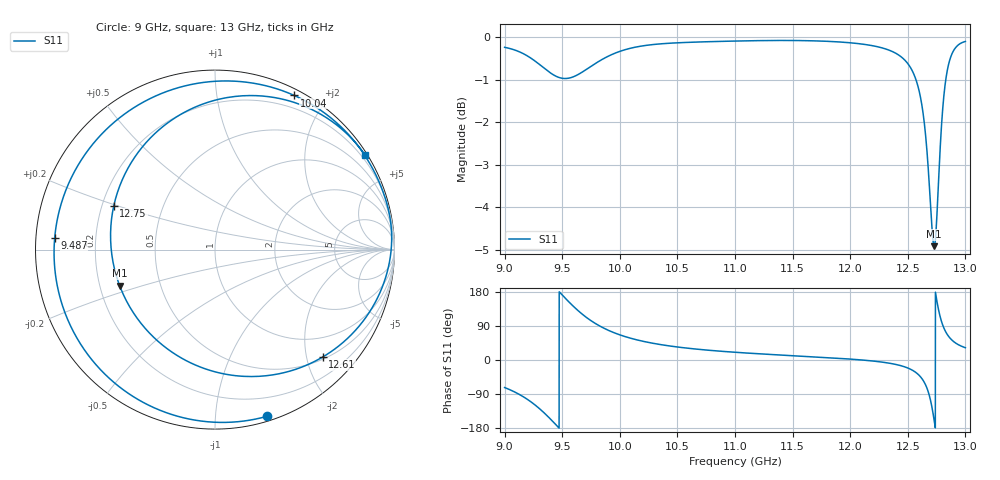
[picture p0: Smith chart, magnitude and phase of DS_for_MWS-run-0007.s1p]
! TOUCHSTONE file generated by CST DESIGN STUDIO
! Date and time: Tue Feb  4 12:44:46 2025
! Project name: C:\Work\MatlabApps\UnitCellOptimizationMatlab\CST\unitcell.cst
! Tree item: Tasks\Sweep1\SPara1\S-Parameters
! Header version: 2024
! Port assignment regex: !\s*Touchstone port\s*([0-9]+)\s*=\s*(CST MWS port|CST DES external port|CST DES block port)\s*(.+)\s* \(\"(.*)\"\)(\s*mode\s*([0-9]+))?.*
! Touchstone port assignment:
! Touchstone port 1 = CST DES external port 1 ("")
# GHz S MA R 50
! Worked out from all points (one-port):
!   4001 points, 9 GHz to 13 GHz, reference 50 ohm
!   lowest |S11| = -4.9 dB at 12.73 GHz (marker M1), VSWR 3.63, Z = 14.2 - j8.41 ohm
!   |S11| at or under -10 dB: nowhere
!   S11 on the Smith chart (normalised r, x): 9 GHz: 0.04, -1.36; 9.487 GHz: 0.06, +0.04; 10.04 GHz: 0.06, +1.64; 12.61 GHz: 0.54, -2.31; 12.75 GHz: 0.25, +0.20; 13 GHz: 0.07, +3.44
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9  0.973 -72.7
9.151  0.9581 -94.9
9.262  0.9379 -118.1
9.39  0.9094 -153.4
9.487  0.8955 175.7
9.5  0.8948 171.6
9.611  0.9001 137.6
9.714  0.9173 111.5
9.833  0.9393 88.5
10  0.9623 66.4
10.035  0.9658 62.8
10.237  0.9785 47.1
10.5  0.9849 34.3
11  0.9896 20.4
11.5  0.9911 11.4
12  0.985 2.4
12.31  0.9685 -7.0
12.5  0.9311 -21.1
12.612  0.8474 -44.9
12.649  0.7801 -62.2
12.683  0.6829 -89.4
12.706  0.6072 -118.7
12.729  0.5681 -159.3
12.752  0.6146 156.5
12.784  0.7528 110.7
12.818  0.8658 81.1
12.89  0.9602 50.6
13  0.9885 32.4
